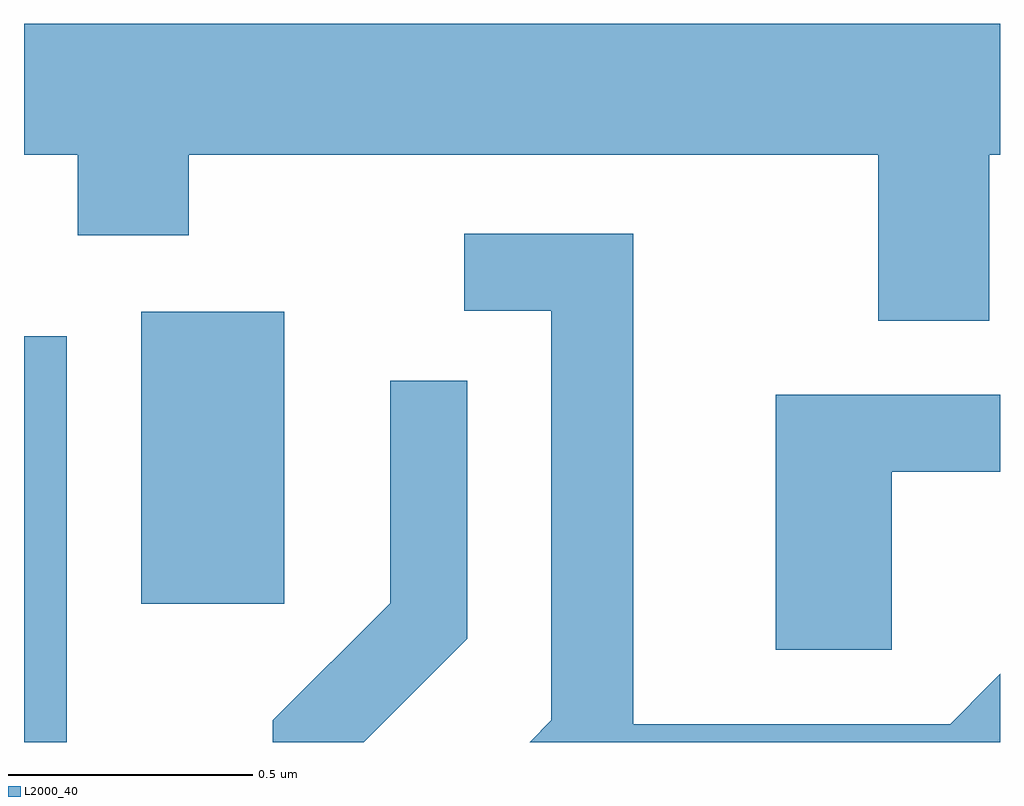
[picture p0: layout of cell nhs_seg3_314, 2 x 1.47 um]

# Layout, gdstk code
import gdstk
lib = gdstk.Library(unit=1e-6, precision=1e-09)
def R(c, l, rs):  # rectangles x0, y0, x1, y1
    for r in rs: c.add(gdstk.rectangle(r[:2], r[2:], *l))
def P(c, l, *ps):  # polygons
    for p in ps: c.add(gdstk.Polygon(p, *l))
L2000_40 = (2000, 40)

nhs_seg3_314 = lib.new_cell('nhs_seg3_314')
R(nhs_seg3_314, L2000_40, [(187.611,1155.892,187.699,1156.724), (187.851,1156.176,188.144,1156.774)])
P(nhs_seg3_314, L2000_40, [(189.589,1157.096),(189.611,1157.096),(189.611,1157.364),(187.611,1157.364),(187.611,1157.096),(187.721,1157.096),(187.721,1156.931),(187.949,1156.931),(187.949,1157.096),(189.361,1157.096),(189.361,1156.756),(189.589,1156.756)],
  [(189.611,1156.032),(189.592,1156.013),(189.509,1155.929),(188.859,1155.929),(188.859,1156.934),(188.513,1156.934),(188.513,1156.776),(188.691,1156.776),(188.691,1155.937),(188.647,1155.892),(189.611,1155.892)],
  [(188.519,1156.104),(188.519,1156.633),(188.361,1156.633),(188.361,1156.177),(188.121,1155.937),(188.121,1155.892),(188.307,1155.892)],
  [(189.389,1156.446),(189.611,1156.446),(189.611,1156.604),(189.151,1156.604),(189.151,1156.081),(189.389,1156.081)])

lib.write_gds('nhs_seg3_314.gds')
